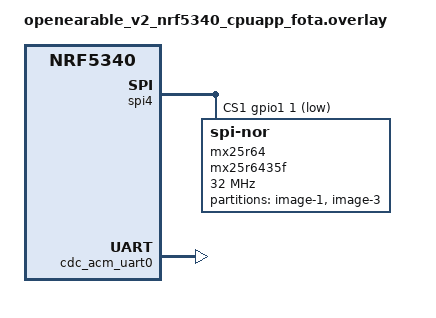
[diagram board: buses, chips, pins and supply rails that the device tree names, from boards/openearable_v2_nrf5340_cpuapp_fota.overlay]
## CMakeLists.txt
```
#
# Copyright (c) 2022 Nordic Semiconductor ASA
#
# SPDX-License-Identifier: LicenseRef-Nordic-5-Clause
#

cmake_minimum_required(VERSION 3.20.0)

# Flag which defines whether application is compiled as gateway/dongle or headset
add_compile_definitions(HEADSET=1)
add_compile_definitions(GATEWAY=2)

find_package(Zephyr REQUIRED HINTS $ENV{ZEPHYR_BASE})

project(openearable_v2)

include(cmake/sd_spi_fast_write.cmake)

# NCS 3.4.1 gates this bootutil hook on a bootloader-only Kconfig symbol.
# SMP must use its nRF53 hook too: the radio primary slot is not readable here.
if(CONFIG_MCUMGR_GRP_IMG_NRF5340_BOOTUTIL_HOOK)
    target_compile_definitions(mcuboot_util PRIVATE CONFIG_NRF53_MULTI_IMAGE_UPDATE=1)
endif()

#set(OVERLAY_CONFIG 
#    ${CMAKE_CURRENT_SOURCE_DIR}/unicast_server/overlay-unicast_server.conf
#)

string(TIMESTAMP NRF_AUDIO_CORE_APP_COMP_DATE "%a %b %d %H:%M:%S %Y")

# Generate fw_info_app.c
configure_file("${CMAKE_CURRENT_SOURCE_DIR}/src/utils/fw_info_app.c.in"
               "${CMAKE_BINARY_DIR}/fw_info_app.c"
               @ONLY)

# Target sources below are specific to the nRF5340 Audio DK HW
target_sources(app PRIVATE
#    src/openearable_common.c
    ${CMAKE_BINARY_DIR}/fw_info_app.c
    )

if (CONFIG_BT_BAP_BROADCAST_SINK)
	add_subdirectory(broadcast_sink)
endif()

if (CONFIG_BT_BAP_UNICAST_SERVER)
	add_subdirectory(unicast_server)
endif()


# Include application events and configuration headers
zephyr_library_include_directories(
    include
    src/audio
    src/Battery
    src/buttons
    src/Wire
    src/bluetooth
    src/drivers
    src/modules
    src/utils
    src/utils/macros
    src/ParseInfo
    src/SD_Card/SDLogger
    src/SD_Card/Benchmark
    src/SD_Card/SD_Card_Manager
    src/SD_Card/MassStorage
    src/time_sync
)

zephyr_library_include_directories(app PRIVATE
    ${CMAKE_CURRENT_SOURCE_DIR}/boards/teco/openearable_v2)

# Application sources
add_subdirectory(src/audio)
add_subdirectory(src/Wire)
add_subdirectory(src/Battery)
add_subdirectory(src/bluetooth)
add_subdirectory(src/buttons)
add_subdirectory(src/drivers)
add_subdirectory(src/modules)
add_subdirectory(src/utils)
add_subdirectory(src/ParseInfo)
add_subdirectory(src/SensorManager)
add_subdirectory(src/SD_Card/SDLogger)
add_subdirectory(src/SD_Card/Benchmark)
add_subdirectory(src/SD_Card/SD_Card_Manager)
add_subdirectory(src/SD_Card/MassStorage)
add_subdirectory(src/time_sync)
add_subdirectory(protocol/generated/c)

target_link_libraries(open_earable_protocols PRIVATE zephyr_interface)

## Cirrus Logic
if (CONFIG_HW_CODEC_CIRRUS_LOGIC)
    if (ZEPHYR_CIRRUS_LOGIC_MODULE_DIR)
        add_subdirectory(${ZEPHYR_CIRRUS_LOGIC_MODULE_DIR} cirrus_logic_bin_dir)
    else()
        message(FATAL_ERROR "Cirrus Logic/sdk-mcu-drivers repository not found\n")
    endif()
endif()

include(version.cmake)
include_directories(${CMAKE_CURRENT_BINARY_DIR}/include)

target_link_libraries(app PRIVATE open_earable_protocols)

# USB device initialization shared by Zephyr's next-generation USB samples.
if(CONFIG_USB_DEVICE_STACK_NEXT)
    include(${ZEPHYR_BASE}/samples/subsys/usb/common/common.cmake)
endif()
```

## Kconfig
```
#
# Copyright (c) 2018 Nordic Semiconductor ASA
#
# SPDX-License-Identifier: LicenseRef-Nordic-5-Clause
#

menuconfig APP_NRF_AUDIO
	bool "nRF Audio [EXPERIMENTAL]"
	 select EXPERIMENTAL

config CUSTOM_BROADCASTER
	bool "Allow custom broadcasters"
	default n
	help
	  Incomplete feature for now, but will introduce support for multiple BIGs and subgroups.

config AUDIO_DEV
	int "Select which device type to compile for. 1=HEADSET or 2=GATEWAY"
	range 1 2
	default 1
	help
	  Setting this variable to 1 selects that the project is compiled
	  as a HEADSET device.
	  Setting to 2 will compile as a GATEWAY.

choice NRF_AUDIO_TRANSPORT_MODE
	prompt "Choose BIS or CIS for ISO transport"
	default TRANSPORT_CIS if WALKIE_TALKIE_DEMO
	default TRANSPORT_CIS

config TRANSPORT_BIS
	bool "Use BIS (Broadcast Isochronous Stream)"

config TRANSPORT_CIS
	bool "Use CIS (Connected Isochronous Stream)"

endchoice

#----------------------------------------------------------------------------#
# if (TRANSPORT_BIS && AUDIO_DEV = 1)
# rsource "broadcast_sink/Kconfig.defaults"
# endif # TRANSPORT_BIS && AUDIO_DEV = 1

# if (TRANSPORT_BIS && AUDIO_DEV = 2)
# rsource "broadcast_source/Kconfig.defaults"
# endif # TRANSPORT_BIS && AUDIO_DEV = 2

# if (TRANSPORT_CIS && AUDIO_DEV = 1)
rsource "unicast_server/Kconfig.defaults"
# endif # TRANSPORT_CIS && AUDIO_DEV = 1

# if (TRANSPORT_CIS && AUDIO_DEV = 2)
# rsource "unicast_client/Kconfig.defaults"
# endif # TRANSPORT_CIS && AUDIO_DEV = 2

rsource "Kconfig.defaults"
rsource "src/audio/Kconfig"
rsource "src/bluetooth/Kconfig"
rsource "src/drivers/Kconfig"
rsource "src/modules/Kconfig"
rsource "src/utils/Kconfig"
rsource "src/SensorManager/Kconfig"
rsource "src/Battery/Kconfig"

#----------------------------------------------------------------------------#
menu "Logging"

module = MAIN
module-str = main
source "subsys/logging/Kconfig.template.log_config"

config PRINT_STACK_USAGE_MS
	depends on THREAD_ANALYZER && INIT_STACKS
	int "Print stack usage every x milliseconds"
	default 5000

endmenu # Log levels

#----------------------------------------------------------------------------#
rsource "$(ZEPHYR_BASE)/samples/subsys/usb/common/Kconfig.sample_usbd"

source "Kconfig.zephyr"
```

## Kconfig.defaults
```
#
# Copyright (c) 2022 Nordic Semiconductor ASA
#
# SPDX-License-Identifier: LicenseRef-Nordic-5-Clause
#

config REBOOT
	default y

config MAIN_THREAD_PRIORITY
	default 10

config MAIN_STACK_SIZE
	default 2500 if SD_CARD_PLAYBACK
	default 2000

config SYSTEM_WORKQUEUE_STACK_SIZE
	default 2000

# As long as thread names are used, config must be set to "y"
config THREAD_NAME
	default y

# Workaround to not use fatal_error.c in NCS. Note that the system may still
# reset on error depending on the build configuraion
config RESET_ON_FATAL_ERROR
	default n

# Default Config for Debug and Release build
config BT
	default y

config ZBUS
	default y

config ZBUS_RUNTIME_OBSERVERS
	default y

config ZBUS_MSG_SUBSCRIBER
	default y

config SENSOR
	default y

config REGULATOR
	default y

config CONTIN_ARRAY
	default y

config NRFX_I2S
	default y

config PCM_MIX
	default y

config PSCM
	default y

# Enable NRFX_CLOCK for ACLK control
config NRFX_CLOCK
	default y

config I2C
	default y

# Audio codec LC3 related defines
# FPU_SHARING enables preservation of the hardware floating point registers
# across context switches to allow multiple threads to perform concurrent
# floating point operations.
config FPU
	default y

config FPU_SHARING
	default y

# Enable SDHC interface
config DISK_DRIVERS
	default y

config DISK_DRIVER_SDMMC
	default y

# Enable SPI interface
config SPI
	default y

# Enable ADC for board version readback
config ADC
	default y

# Allocate buffer on RAM for transferring chunck of data
# from Flash to SPI
config SPI_NRFX_RAM_BUFFER_SIZE
	default 8

# Config the file system
config FILE_SYSTEM
	default y

config FAT_FILESYSTEM_ELM
	default y

config FS_FATFS_LFN
	default y
choice FS_FATFS_LFN_MODE
	# Using stack for LFN work queue
	default FS_FATFS_LFN_MODE_STACK
endchoice

# exFAT enabled to support longer file names and higher transfer speed
config FS_FATFS_EXFAT
	default y

# The SD logger owns a 32768-byte ring; Zephyr now defaults to a 32767-byte limit.
config RING_BUFFER_LARGE
	default y
```

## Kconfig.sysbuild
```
config NRF_DEFAULT_IPC_RADIO
	default y

source "${ZEPHYR_BASE}/share/sysbuild/Kconfig"
```

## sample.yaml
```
sample:
  name: OpenEarable V2 application
  description: OpenEarable V2 LE Audio application
common:
  integration_platforms:
    - openearable_v2/nrf5340/cpuapp
  platform_allow: openearable_v2/nrf5340/cpuapp
  sysbuild: true
  build_only: true
  tags: ci_build sysbuild
tests:
  applications.openearable_v2.unicast_debug:
    extra_args:
      - EXTRA_CONF_FILE=unicast_server/overlay-unicast_server.conf
  applications.openearable_v2.unicast_release:
    extra_args:
      - FILE_SUFFIX=release
      - EXTRA_CONF_FILE=unicast_server/overlay-unicast_server.conf
  applications.openearable_v2.unicast_fota:
    extra_args:
      - FILE_SUFFIX=fota
      - EXTRA_CONF_FILE=unicast_server/overlay-unicast_server.conf
```

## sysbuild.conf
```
SB_CONFIG_MERGED_HEX_FILES=y
```

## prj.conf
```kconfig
#
# Copyright (c) 2022 Nordic Semiconductor ASA
#
# SPDX-License-Identifier: LicenseRef-Nordic-5-Clause
#

# CONFIG_STATIC_INIT_GNU=y

# nRF Audio
CONFIG_APP_NRF_AUDIO=y
CONFIG_USE_DT_CODE_PARTITION=y
CONFIG_SAMPLE_RATE_CONVERTER=y
CONFIG_SAMPLE_RATE_CONVERTER_FILTER_SIMPLE=y

# General nRF Audio runtime requirements
CONFIG_BT=y
CONFIG_NET_BUF_POOL_USAGE=y
CONFIG_BT_RX_STACK_SIZE=2500
CONFIG_POLL=y

# General
CONFIG_DEBUG=y
CONFIG_ASSERT=y
CONFIG_STACK_USAGE=y
CONFIG_THREAD_RUNTIME_STATS=y
CONFIG_STACK_SENTINEL=y
CONFIG_INIT_STACKS=y

# Uart driver
CONFIG_SERIAL=y

# Logging
CONFIG_LOG=y
CONFIG_LOG_TAG_MAX_LEN=2
CONFIG_LOG_TAG_DEFAULT="--"
CONFIG_LOG_BACKEND_UART=y
CONFIG_LOG_BUFFER_SIZE=1024
CONFIG_LOG_RUNTIME_DEFAULT_LEVEL=4
CONFIG_BT_SECURITY_ERR_TO_STR=y

# Use this for debugging thread usage
#CONFIG_LOG_THREAD_ID_PREFIX=y

# Console related defines
CONFIG_CONSOLE=y
CONFIG_RTT_CONSOLE=y
CONFIG_UART_CONSOLE=y

# Shell related defines
CONFIG_SHELL=y
CONFIG_KERNEL_SHELL=y
CONFIG_USE_SEGGER_RTT=y
## Disable logs on RTT
CONFIG_SHELL_RTT_INIT_LOG_LEVEL_NONE=y
CONFIG_SHELL_BACKEND_RTT=y
CONFIG_SHELL_BACKEND_SERIAL=n
CONFIG_SHELL_VT100_COMMANDS=y
CONFIG_SHELL_VT100_COLORS=y
CONFIG_SHELL_STACK_SIZE=4096
CONFIG_SHELL_CMD_BUFF_SIZE=128
## Reduce shell memory usage
CONFIG_SHELL_WILDCARD=n
CONFIG_SHELL_HELP_ON_WRONG_ARGUMENT_COUNT=n
CONFIG_SHELL_STATS=n
CONFIG_SHELL_CMDS=n
CONFIG_SHELL_HISTORY=y

# Turn off default shell commands
CONFIG_I2C_SHELL=n
CONFIG_HWINFO_SHELL=n
CONFIG_CLOCK_CONTROL_NRF_SHELL=n
CONFIG_FLASH_SHELL=n
CONFIG_DEVICE_SHELL=n

# Suppress LOG_ERR messages from sd_check_card_type. Because SPI_SDHC has no card presence method,
# assume card is in slot. Thus error message is always shown if card is not inserted
CONFIG_SD_LOG_LEVEL_OFF=y

# Suppress LOG_INF messages from hci_core
CONFIG_BT_HCI_CORE_LOG_LEVEL_WRN=y

CONFIG_NRF_AUDIO_ADAU1860_DRIVER=y
CONFIG_NRF5340_AUDIO_POWER_MEASUREMENT=n
CONFIG_NRF_AUDIO_SD_CARD_MODULE=y

#Custom
CONFIG_NRFX_PWM=y

CONFIG_I2C=y
CONFIG_I2C_NRFX=y

CONFIG_POWEROFF=y

# Auto-off power saving modes: 0=off, 1=minimal, 2=balanced, 3=aggressive.
# Higher modes are more aggressive: shorter timeout, fewer participants can veto.
CONFIG_POWER_SAVING_DEFAULT_MODE=0

# Auto-off participant levels are the most aggressive mode where a component
# may veto. Level 2 applies in modes 1 and 2, but not mode 3.
CONFIG_POWER_SAVING_LEVEL_LEAUDIO=3
CONFIG_POWER_SAVING_LEVEL_SENSOR_MANAGER=2

# Auto-off timeouts in minutes for each power saving mode
CONFIG_AUTO_OFF_TIMEOUT_AGGRESSIVE=5
CONFIG_AUTO_OFF_TIMEOUT_BALANCED=15
CONFIG_AUTO_OFF_TIMEOUT_MINIMAL=30

CONFIG_PM_DEVICE=y
CONFIG_PM_DEVICE_RUNTIME=y
# PowerManager explicitly enables runtime PM for the managed load switches.
CONFIG_PM_DEVICE_RUNTIME_DEFAULT_ENABLE=n

CONFIG_BT_DEVICE_NAME="OpenEarable"

#CONFIG_USB_CDC_ACM_LOG_LEVEL_DBG=y

CONFIG_BT_PERIPHERAL=y
CONFIG_BT_OBSERVER=y

CONFIG_SFLOAT=y

CONFIG_FPU=y

CONFIG_CMSIS_DSP=y
CONFIG_CMSIS_DSP_TRANSFORM=y
CONFIG_CMSIS_DSP_COMPLEXMATH=y

CONFIG_PICOLIBC=y
CONFIG_PICOLIBC_IO_FLOAT=y
# Seal-check waveform + LC3 sessions + 8 KiB reserve, as before the SDK upgrade.
CONFIG_COMMON_LIBC_MALLOC_ARENA_SIZE=-1
CONFIG_AUDIO_MIN_RUNTIME_HEAP_SIZE=115200

CONFIG_CPP=y
CONFIG_GLIBCXX_LIBCPP=y
CONFIG_STD_CPP17=y

#CONFIG_USB=y
CONFIG_USB_CDC_ACM=y

CONFIG_USB_DEVICE_STACK=y
CONFIG_USB_DEVICE_PRODUCT="OpenEarable v2"
CONFIG_USB_DEVICE_PID=0x0004
CONFIG_USB_DEVICE_INITIALIZE_AT_BOOT=n
CONFIG_OPENEARABLE_USB_AUDIO=y

CONFIG_UART_LINE_CTRL=y

CONFIG_BT_USER_DATA_LEN_UPDATE=y
CONFIG_BT_USER_PHY_UPDATE=y

# Negotiate the link settings previously requested by connected_cb.
CONFIG_BT_AUTO_DATA_LEN_UPDATE=y
CONFIG_BT_AUTO_PHY_PERIPHERAL_2M=y

CONFIG_BT_BUF_ACL_RX_SIZE=502
CONFIG_BT_BUF_ACL_RX_COUNT_EXTRA=8
CONFIG_BT_BUF_ACL_TX_SIZE=502
CONFIG_BT_L2CAP_TX_MTU=498

CONFIG_BT_ISO_TX_BUF_COUNT=3
# Full advertised mono LC3 range: 124 kbit/s at 10 ms = 155 bytes.
CONFIG_BT_ISO_TX_MTU=155
CONFIG_BT_ISO_RX_MTU=155
CONFIG_BT_ISO_RX_BUF_COUNT=4
CONFIG_BT_BUF_ACL_TX_COUNT=12
CONFIG_BT_ATT_TX_COUNT=12

CONFIG_SPEED_OPTIMIZATIONS=y

#CONFIG_BT_BUF_ACL_TX_COUNT=20
#CONFIG_BT_L2CAP_TX_BUF_COUNT=20

#CONFIG_BT_ISO_RX_MTU=498
#CONFIG_BT_ISO_TX_MTU=498

CONFIG_BT_ATT_PREPARE_COUNT=8
CONFIG_BT_L2CAP_DYNAMIC_CHANNEL=y

#CONFIG_BT_AUDIO_PRESENTATION_DELAY_US=40000
#CONFIG_BT_AUDIO_MAX_TRANSPORT_LATENCY_MS=20

CONFIG_BT_AUDIO_RETRANSMITS=2

CONFIG_BLE_ACL_CONN_INTERVAL=8

CONFIG_BT_PERIPHERAL=y
CONFIG_BT_OBSERVER=y

CONFIG_SFLOAT=y

#CONFIG_RESET_ON_FATAL_ERROR=y

CONFIG_STREAM_BIDIRECTIONAL=y

# CONFIG_NRFX_PDM=y

CONFIG_AUDIO_MIC_I2S=y

# CONFIG_LOG_DEFAULT_LEVEL=4

CONFIG_SPI_NRFX_RAM_BUFFER_SIZE=4096

CONFIG_SPI=y
CONFIG_SPI_NRFX=y
CONFIG_DISK_ACCESS=y
CONFIG_SDHC=y

CONFIG_LOG=y
CONFIG_FILE_SYSTEM=y
CONFIG_FAT_FILESYSTEM_ELM=y
CONFIG_FS_FATFS_HAS_RTC=y

# Enable SDHC interface
CONFIG_DISK_DRIVERS=y
CONFIG_DISK_DRIVER_SDMMC=y

CONFIG_FS_FATFS_MOUNT_MKFS=y # Enable automatic formatting
CONFIG_FS_FATFS_EXFAT=y      # Enable exFAT support

CONFIG_FDSP=y

# CMSIS-DSP Configuration
CONFIG_CMSIS_DSP=y
CONFIG_CMSIS_DSP_TRANSFORM=y
CONFIG_CMSIS_DSP_COMPLEXMATH=y

CONFIG_SYSTEM_WORKQUEUE_STACK_SIZE=4096
CONFIG_AUDIO_RESPONSE_MAX_SAMPLES=32000

#CONFIG_USB_MASS_STORAGE=y
#CONFIG_MASS_STORAGE_STACK_SIZE=1024
#CONFIG_MASS_STORAGE_DISK_NAME="SD"
#CONFIG_APP_MSC_STORAGE_SDCARD=y
```

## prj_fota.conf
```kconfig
#
# Copyright (c) 2022 Nordic Semiconductor ASA
#
# SPDX-License-Identifier: LicenseRef-Nordic-5-Clause
#

# CONFIG_STATIC_INIT_GNU=y

# Auto-off is disabled until the user selects a mode.
CONFIG_POWER_SAVING_DEFAULT_MODE=0

# nRF Audio
CONFIG_APP_NRF_AUDIO=y
CONFIG_SAMPLE_RATE_CONVERTER=y
CONFIG_SAMPLE_RATE_CONVERTER_FILTER_SIMPLE=y

# General nRF Audio runtime requirements
CONFIG_BT=y
CONFIG_NET_BUF_POOL_USAGE=y
CONFIG_BT_RX_STACK_SIZE=2500
CONFIG_POLL=y

# General
CONFIG_DEBUG=y
CONFIG_ASSERT=y
CONFIG_STACK_USAGE=y
CONFIG_THREAD_RUNTIME_STATS=y
CONFIG_STACK_SENTINEL=y
CONFIG_INIT_STACKS=y

# Uart driver
CONFIG_SERIAL=y

# Logging
CONFIG_LOG=y
CONFIG_LOG_TAG_MAX_LEN=2
CONFIG_LOG_TAG_DEFAULT="--"
CONFIG_LOG_BACKEND_UART=y
CONFIG_LOG_BUFFER_SIZE=1024
CONFIG_LOG_RUNTIME_DEFAULT_LEVEL=4
CONFIG_BT_SECURITY_ERR_TO_STR=y

# Use this for debugging thread usage
#CONFIG_LOG_THREAD_ID_PREFIX=y

# Console related defines
CONFIG_CONSOLE=y
CONFIG_RTT_CONSOLE=y
CONFIG_UART_CONSOLE=y
CONFIG_STDOUT_CONSOLE=y

# Shell related defines
CONFIG_SHELL=y
CONFIG_KERNEL_SHELL=y
CONFIG_USE_SEGGER_RTT=y
## Disable logs on RTT
CONFIG_SHELL_RTT_INIT_LOG_LEVEL_NONE=y
CONFIG_SHELL_BACKEND_RTT=y
CONFIG_SHELL_BACKEND_SERIAL=n
CONFIG_SHELL_VT100_COMMANDS=y
CONFIG_SHELL_VT100_COLORS=y
CONFIG_SHELL_STACK_SIZE=4096
CONFIG_SHELL_CMD_BUFF_SIZE=128
## Reduce shell memory usage
CONFIG_SHELL_WILDCARD=n
CONFIG_SHELL_HELP_ON_WRONG_ARGUMENT_COUNT=n
CONFIG_SHELL_STATS=n
CONFIG_SHELL_CMDS=n
CONFIG_SHELL_HISTORY=y

# Turn off default shell commands
CONFIG_I2C_SHELL=n
CONFIG_HWINFO_SHELL=n
CONFIG_CLOCK_CONTROL_NRF_SHELL=n
CONFIG_FLASH_SHELL=n
CONFIG_DEVICE_SHELL=n

# Suppress LOG_ERR messages from sd_check_card_type. Because SPI_SDHC has no card presence method,
# assume card is in slot. Thus error message is always shown if card is not inserted
CONFIG_SD_LOG_LEVEL_OFF=y

# Suppress LOG_INF messages from hci_core
CONFIG_BT_HCI_CORE_LOG_LEVEL_WRN=y

# DFU
CONFIG_AUDIO_BT_MGMT_DFU=y
CONFIG_MCUMGR_TRANSPORT_BT_PERM_RW=y
CONFIG_BT_L2CAP_TX_MTU=498
CONFIG_BT_BUF_ACL_TX_SIZE=251

# External Flash
CONFIG_FLASH=y
CONFIG_FLASH_MAP=y
CONFIG_SPI_NOR=y
CONFIG_SPI_NOR_SFDP_DEVICETREE=y

CONFIG_NRF_AUDIO_ADAU1860_DRIVER=y
CONFIG_NRF5340_AUDIO_POWER_MEASUREMENT=n
CONFIG_NRF_AUDIO_SD_CARD_MODULE=y

#Custom
CONFIG_NRFX_PWM=y

CONFIG_I2C=y
CONFIG_I2C_NRFX=y

CONFIG_POWEROFF=y

#CONFIG_PM=y
CONFIG_PM_DEVICE=y
CONFIG_PM_DEVICE_RUNTIME=y
# PowerManager explicitly enables runtime PM for the managed load switches.
CONFIG_PM_DEVICE_RUNTIME_DEFAULT_ENABLE=n

CONFIG_BT_DEVICE_NAME="OpenEarable"

#CONFIG_USB_CDC_ACM_LOG_LEVEL_DBG=y

CONFIG_BT_PERIPHERAL=y
CONFIG_BT_OBSERVER=y

CONFIG_SFLOAT=y

CONFIG_FPU=y

CONFIG_PICOLIBC=y
CONFIG_PICOLIBC_IO_FLOAT=y
# Seal-check waveform + LC3 sessions + 8 KiB reserve, as before the SDK upgrade.
CONFIG_COMMON_LIBC_MALLOC_ARENA_SIZE=-1
CONFIG_AUDIO_MIN_RUNTIME_HEAP_SIZE=115200

CONFIG_CPP=y
CONFIG_GLIBCXX_LIBCPP=y
CONFIG_STD_CPP17=y

#CONFIG_USB=y
CONFIG_USB_CDC_ACM=y

CONFIG_USB_DEVICE_STACK=y
CONFIG_USB_DEVICE_PRODUCT="OpenEarable v2"
CONFIG_USB_DEVICE_PID=0x0004
CONFIG_USB_DEVICE_INITIALIZE_AT_BOOT=n
CONFIG_OPENEARABLE_USB_AUDIO=y

CONFIG_UART_LINE_CTRL=y

CONFIG_BT_USER_DATA_LEN_UPDATE=y
CONFIG_BT_USER_PHY_UPDATE=y

# Negotiate the link settings previously requested by connected_cb.
CONFIG_BT_AUTO_DATA_LEN_UPDATE=y
CONFIG_BT_AUTO_PHY_PERIPHERAL_2M=y

CONFIG_BT_BUF_ACL_RX_SIZE=502
CONFIG_BT_BUF_ACL_RX_COUNT_EXTRA=8
CONFIG_BT_BUF_ACL_TX_SIZE=502
CONFIG_BT_L2CAP_TX_MTU=498

CONFIG_BT_ISO_TX_BUF_COUNT=3
# Full advertised mono LC3 range: 124 kbit/s at 10 ms = 155 bytes.
CONFIG_BT_ISO_TX_MTU=155
CONFIG_BT_ISO_RX_MTU=155
CONFIG_BT_ISO_RX_BUF_COUNT=4
CONFIG_BT_BUF_ACL_TX_COUNT=3
CONFIG_BT_ATT_TX_COUNT=12

CONFIG_SPEED_OPTIMIZATIONS=y

#CONFIG_BT_ISO_RX_MTU=498
#CONFIG_BT_ISO_TX_MTU=498

#CONFIG_BT_ATT_PREPARE_COUNT=8
CONFIG_BT_L2CAP_DYNAMIC_CHANNEL=y

#CONFIG_BT_AUDIO_PRESENTATION_DELAY_US=40000
#CONFIG_BT_AUDIO_MAX_TRANSPORT_LATENCY_MS=20

CONFIG_BT_AUDIO_RETRANSMITS=2

CONFIG_BLE_ACL_CONN_INTERVAL=8

CONFIG_BT_PERIPHERAL=y
CONFIG_BT_OBSERVER=y

CONFIG_SFLOAT=y

#CONFIG_RESET_ON_FATAL_ERROR=y

CONFIG_STREAM_BIDIRECTIONAL=y

# CONFIG_NRFX_PDM=y

CONFIG_AUDIO_MIC_I2S=y

# CONFIG_LOG_DEFAULT_LEVEL=4

CONFIG_SPI_NRFX_RAM_BUFFER_SIZE=4096

CONFIG_SPI=y
CONFIG_SPI_NRFX=y
CONFIG_DISK_ACCESS=y
CONFIG_SDHC=y

CONFIG_LOG=y
CONFIG_FILE_SYSTEM=y
CONFIG_FAT_FILESYSTEM_ELM=y
CONFIG_FS_FATFS_HAS_RTC=y

# Enable SDHC interface
CONFIG_DISK_DRIVERS=y
CONFIG_DISK_DRIVER_SDMMC=y

CONFIG_FS_FATFS_MOUNT_MKFS=n # Disable automatic formatting
CONFIG_FS_FATFS_EXFAT=y      # Enable exFAT support

CONFIG_FDSP=y

CONFIG_SYSTEM_WORKQUEUE_STACK_SIZE=4096

#CONFIG_USB_MASS_STORAGE=y
#CONFIG_MASS_STORAGE_STACK_SIZE=1024

##################################################

# Step 1.1 - Enable SPI driver for the application
#CONFIG_GPIO=y
#CONFIG_SPI=y
#CONFIG_SPI_NOR=y
#CONFIG_SPI_NOR_SFDP_DEVICETREE=y
CONFIG_SPI_NOR_FLASH_LAYOUT_PAGE_SIZE=4096
# QSPI drivers are enabled by defualt for some chips.
# Disable it explicitly to be sure QSPI is disabled.
CONFIG_NORDIC_QSPI_NOR=n

# STEP 5.3 - Enable USB subsystem
CONFIG_USB_DEVICE_STACK=y
CONFIG_UART_LINE_CTRL=y
CONFIG_USB_DEVICE_INITIALIZE_AT_BOOT=n

# STEP 5.2 - Enable mcumgr DFU in application
# Enable MCUMGR 
CONFIG_MCUMGR=y

# Enable MCUMGR management for both OS and Images
CONFIG_MCUMGR_GRP_OS=y
CONFIG_MCUMGR_GRP_IMG=y

# Configure MCUMGR transport to UART
CONFIG_UART_MCUMGR=y
CONFIG_MCUMGR_TRANSPORT_UART=y

# Dependencies
# Configure dependencies for CONFIG_MCUMGR  
CONFIG_NET_BUF=y
CONFIG_ZCBOR=y
CONFIG_CRC=y

# Configure dependencies for CONFIG_MCUMGR_GRP_IMG  
CONFIG_FLASH=y
CONFIG_IMG_MANAGER=y

# Configure dependencies for CONFIG_IMG_MANAGER  
CONFIG_STREAM_FLASH=y
CONFIG_FLASH_MAP=y

# Configure dependencies for CONFIG_MCUMGR_TRANSPORT_UART 
CONFIG_BASE64=y

# MCUboot hooks
CONFIG_MCUMGR_MGMT_NOTIFICATION_HOOKS=y

CONFIG_MCUMGR_SMP_COMMAND_STATUS_HOOKS=y
#CONFIG_MCUMGR_GRP_FS_FILE_ACCESS_HOOK=y

CONFIG_MCUMGR_GRP_IMG_UPLOAD_CHECK_HOOK=y
CONFIG_MCUMGR_GRP_IMG_STATUS_HOOKS=y
CONFIG_MCUMGR_GRP_OS_RESET_HOOK=y

#CONFIG_MCUMGR_GRP_SETTINGS_ACCESS_HOOK=y

CONFIG_SETUP_FUEL_GAUGE=y

CONFIG_CMSIS_DSP=y
CONFIG_CMSIS_DSP_TRANSFORM=y
CONFIG_CMSIS_DSP_COMPLEXMATH=y

CONFIG_AUDIO_RESPONSE_MAX_SAMPLES=32000
```

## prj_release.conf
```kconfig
#
# Copyright (c) 2022 Nordic Semiconductor ASA
#
# SPDX-License-Identifier: LicenseRef-Nordic-5-Clause
#

# Auto-off is disabled until the user selects a mode.
CONFIG_POWER_SAVING_DEFAULT_MODE=0

# nRF Audio
CONFIG_APP_NRF_AUDIO=y

CONFIG_SAMPLE_RATE_CONVERTER=y
CONFIG_SAMPLE_RATE_CONVERTER_FILTER_SIMPLE=y

# General
CONFIG_DEBUG=n
CONFIG_ASSERT=n
CONFIG_STACK_USAGE=n
CONFIG_THREAD_MONITOR=n
CONFIG_SERIAL=n
CONFIG_CONSOLE=n
CONFIG_PRINTK=n
CONFIG_BT_SETTINGS_USE_PRINTK=n
CONFIG_NCS_BOOT_BANNER=n
CONFIG_UART_CONSOLE=n
CONFIG_BOOT_BANNER=n
CONFIG_NET_BUF_POOL_USAGE=y
CONFIG_BT_RX_STACK_SIZE=2500
CONFIG_POLL=y

# BT related configs
CONFIG_BT_ISO_TX_BUF_COUNT=3
CONFIG_BT_BUF_ACL_TX_COUNT=3
CONFIG_BT_ATT_TX_COUNT=12

CONFIG_SPEED_OPTIMIZATIONS=y

# Enable link-time-optimizations to improve performance and reduce size
CONFIG_LTO=y
CONFIG_ISR_TABLES_LOCAL_DECLARATION=y
```

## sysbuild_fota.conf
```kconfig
#
# Copyright (c) 2024 Nordic Semiconductor ASA
#
# SPDX-License-Identifier: LicenseRef-Nordic-5-Clause
#

# Enable bootloaders for both cores
SB_CONFIG_BOOTLOADER_MCUBOOT=y
SB_CONFIG_SECURE_BOOT_NETCORE=y
SB_CONFIG_NETCORE_APP_UPDATE=y
SB_CONFIG_MCUBOOT_NRF53_MULTI_IMAGE_UPDATE=y
SB_CONFIG_MCUBOOT_MODE_OVERWRITE_ONLY=y

SB_CONFIG_MERGED_HEX_FILES=y
```

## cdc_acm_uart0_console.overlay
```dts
// To get started, press Ctrl+Space (or Option+Esc) to bring up the completion menu and view the available nodes.

// You can also use the buttons in the sidebar to perform actions on nodes.
// Actions currently available include:

// * Enabling / disabling the node
// * Adding the bus to a bus
// * Removing the node
// * Connecting ADC channels

// For more help, browse the DeviceTree documentation at https://docs.zephyrproject.org/latest/guides/dts/index.html
// You can also visit the nRF DeviceTree extension documentation at https://docs.nordicsemi.com/bundle/nrf-connect-vscode/page/guides/ncs_configure_app.html#devicetree-support-in-the-extension

/ {
	chosen {
		zephyr,console = &cdc_acm_uart0;
		zephyr,shell-uart = &cdc_acm_uart0;
    };
};
```

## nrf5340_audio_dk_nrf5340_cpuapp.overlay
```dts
// To get started, press Ctrl+Space to bring up the completion menu and view the available nodes.

// You can also use the buttons in the sidebar to perform actions on nodes.
// Actions currently available include:

// * Enabling / disabling the node
// * Adding the bus to a bus
// * Removing the node
// * Connecting ADC channels

// For more help, browse the DeviceTree documentation at https://docs.zephyrproject.org/latest/guides/dts/index.html
// You can also visit the nRF DeviceTree extension documentation at https://nrfconnect.github.io/vscode-nrf-connect/devicetree/nrfdevicetree.html

&rng_hci {
    status = "okay";
};

&arduino_header {
    gpio-map = <0 0 &gpio0 4 0>,
               <1 0 &gpio0 5 0>,
               <2 0 &gpio0 6 0>,
               <3 0 &gpio0 7 0>,
               <4 0 &gpio0 25 0>,
               <5 0 &gpio0 26 0>,
               <6 0 &gpio1 9 0>,
               <7 0 &gpio1 8 0>,
               <8 0 &gpio0 31 0>,
               <9 0 &gpio1 0 0>,
               <10 0 &gpio1 1 0>,
               <11 0 &gpio1 14 0>,
               <12 0 &gpio1 7 0>,
               <13 0 &gpio1 11 0>,
               <14 0 &gpio1 10 0>,
               <15 0 &gpio1 13 0>,
               <16 0 &gpio1 12 0>,
               <17 0 &gpio0 9 0>,
               <18 0 &gpio0 10 0>,
               <19 0 &gpio0 8 0>,
               <20 0 &gpio1 2 0>,
               <21 0 &gpio1 3 0>;
};
```

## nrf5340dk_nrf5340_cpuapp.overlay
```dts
// To get started, press Ctrl+Space (or Option+Esc) to bring up the completion menu and view the available nodes.

// You can also use the buttons in the sidebar to perform actions on nodes.
// Actions currently available include:

// * Enabling / disabling the node
// * Adding the bus to a bus
// * Removing the node
// * Connecting ADC channels

// For more help, browse the DeviceTree documentation at https://docs.zephyrproject.org/latest/guides/dts/index.html
// You can also visit the nRF DeviceTree extension documentation at https://nrfconnect.github.io/vscode-nrf-connect/devicetree/nrfdevicetree.html

&rng_hci {
    status = "okay";
};

&qspi {
	status = "disabled";
};

&i2s0 {
	status = "okay";
	pinctrl-0 = < &i2s0_default >;
	pinctrl-1 = < &i2s0_sleep >;
	pinctrl-names = "default", "sleep";
};

/ {
	leds: leds {
	};
};

&led0 {
	label = "0 LED_MONO_GREEN";
};


&led1 {
	label = "1 LED_MONO_GREEN";
};

&led2 {
	label = "2 LED_MONO_GREEN";
};

&led3 {
	label = "3 LED_MONO_GREEN";
};

&pinctrl {
	i2s0_default: i2s0_default {
		phandle = < 0xd >;
		group1 {
			psels = < 0x13000c >;
			nordic,drive-mode = < 0x3 >;
		};
		group2 {
			psels = < 0xd000e >, < 0xf0010 >, < 0x12000d >, < 0x11000f >;
		};
	};
	i2s0_sleep: i2s0_sleep {
		phandle = < 0xe >;
		group1 {
			psels = < 0x13000c >, < 0xd000e >, < 0xf0010 >, < 0x12000d >, < 0x11000f >;
			low-power-enable;
		};
	};
};

&i2c1 {
    status = "okay";
};

&i2c1_default {
    group1 {
        psels = <NRF_PSEL(TWIM_SDA, 1, 2)>, <NRF_PSEL(TWIM_SCL, 1, 3)>;
    };
};
```

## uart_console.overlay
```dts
// To get started, press Ctrl+Space (or Option+Esc) to bring up the completion menu and view the available nodes.

// You can also use the buttons in the sidebar to perform actions on nodes.
// Actions currently available include:

// * Enabling / disabling the node
// * Adding the bus to a bus
// * Removing the node
// * Connecting ADC channels

// For more help, browse the DeviceTree documentation at https://docs.zephyrproject.org/latest/guides/dts/index.html
// You can also visit the nRF DeviceTree extension documentation at https://docs.nordicsemi.com/bundle/nrf-connect-vscode/page/guides/ncs_configure_app.html#devicetree-support-in-the-extension

/ {
	chosen {
		zephyr,console = &uart0;
		zephyr,shell-uart = &uart0;
    };
};
```

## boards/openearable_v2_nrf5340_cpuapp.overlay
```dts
/* Preserve the non-FOTA settings layout used before the SDK upgrade. */
/delete-node/ &boot_partition;
/delete-node/ &slot0_partition;
/delete-node/ &slot1_partition;
/delete-node/ &storage_partition;

&flash0 {
	partitions {
		slot0_partition: partition@0 {
			compatible = "zephyr,mapped-partition";
			label = "image-0";
			reg = <0x00000000 0x000fc000>;
		};

		storage_partition: partition@fc000 {
			compatible = "zephyr,mapped-partition";
			label = "storage";
			reg = <0x000fc000 0x00002000>;
		};
	};
};
```

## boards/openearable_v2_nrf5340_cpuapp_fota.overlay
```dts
/ {
	chosen {
		nordic,pm-ext-flash = &mx25r64;
	};
};

/delete-node/ &boot_partition;
/delete-node/ &slot0_partition;
/delete-node/ &slot1_partition;
/delete-node/ &storage_partition;

&flash0 {
	partitions {
		boot_partition: partition@0 {
			compatible = "zephyr,mapped-partition";
			label = "mcuboot";
			reg = <0x00000000 0x00010000>;
		};

		slot0_partition: partition@10000 {
			compatible = "zephyr,mapped-partition";
			label = "image-0";
			reg = <0x00010000 0x000e0000>;
		};

		storage_partition: partition@f0000 {
			compatible = "zephyr,mapped-partition";
			label = "storage";
			reg = <0x000f0000 0x00010000>;
		};
	};
};

&qspi {
	status = "disabled";
};

&spi4 {
	cs-gpios = <&gpio0 11 GPIO_ACTIVE_LOW>,<&gpio1 1 GPIO_ACTIVE_LOW>;
	status = "okay";
	mx25r64: mx25r6435f@1 {
		compatible = "jedec,spi-nor";
		reg = <1>;
		spi-max-frequency = <32000000>;

		jedec-id = [c2 28 17];
		sfdp-bfp = [
			e5 20 f1 ff  ff ff ff 03  44 eb 08 6b  08 3b 04 bb
			ee ff ff ff  ff ff 00 ff  ff ff 00 ff  0c 20 0f 52
			10 d8 00 ff  23 72 f5 00  82 ed 04 cc  44 83 68 44
			30 b0 30 b0  f7 c4 d5 5c  00 be 29 ff  f0 d0 ff ff
		];
		size = <67108864>;
		has-dpd;
		t-enter-dpd = <10000>;
		t-exit-dpd = <5000>;
		dpd-wakeup-sequence = <30000 20 45000>;
		mxicy,mx25r-power-mode = "high-performance";

		partitions {
			compatible = "fixed-partitions";
			#address-cells = <1>;
			#size-cells = <1>;

			slot1_partition: partition@0 {
				label = "image-1";
				reg = <0x00000000 0x000e0000>;
			};

			slot3_partition: partition@e0000 {
				label = "image-3";
				reg = <0x000e0000 0x00040000>;
			};
		};
	};
};

/* STEP 5.1 - Configure CDC ACM */
&zephyr_udc0 {
	cdc_acm_uart0: cdc_acm_uart0 {
		compatible = "zephyr,cdc-acm-uart";
	};
};

/* STEP 5.2 - Choose CDC ACM for mcumgr */
/ {
	chosen {
		zephyr,uart-mcumgr = &cdc_acm_uart0;
	};
};
```

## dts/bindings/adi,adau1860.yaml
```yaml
#
# Copyright 2021 Grinn
#
# SPDX-License-Identifier: Apache-2.0
#

include: [sensor-device.yaml, i2c-device.yaml]

compatible: "adi,adau1860"

properties:
  enable-gpios:
    type: phandle-array
    description: DSP enable
```

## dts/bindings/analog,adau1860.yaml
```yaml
#
# Copyright 2021 Grinn
#
# SPDX-License-Identifier: Apache-2.0
#

include: [sensor-device.yaml, i2c-device.yaml]

compatible: "analog,adau1860"

properties:
  enable-gpios:
    type: phandle-array
    description: DSP enable
```

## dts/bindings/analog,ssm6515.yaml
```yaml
#
# Copyright 2021 Grinn
#
# SPDX-License-Identifier: Apache-2.0
#

include: [sensor-device.yaml, i2c-device.yaml]

compatible: "analog,ssm6515"
```

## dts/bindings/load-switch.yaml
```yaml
# Copyright (c) 2023 Libre Solar Technologies GmbH
# SPDX-License-Identifier: Apache-2.0

include: [base.yaml, pm.yaml]

description: GPIO pin to switch a power output on or off

compatible: "load-switch"

properties:
  enable-gpios:
    type: phandle-array
    required: true
    description: |
      The GPIO connected to the gate driver for the MOSFET.
  default-on:
    type: boolean
    description: |
      If present, the load switch will be enabled by default at boot.
  power-delay-us:
    type: int
    default: 1000
    description: |
      Delay in microseconds before enabling the load switch.
```

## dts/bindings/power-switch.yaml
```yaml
# Copyright (c) 2023 Libre Solar Technologies GmbH
# SPDX-License-Identifier: Apache-2.0

description: GPIO pin to switch a power output on or off

compatible: "power-switch"

properties:
  gpios:
    type: phandle-array
    required: true
    description: |
      The GPIO connected to the switch.
```

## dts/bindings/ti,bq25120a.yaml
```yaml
#
# Copyright 2021 Grinn
#
# SPDX-License-Identifier: Apache-2.0
#

include: [sensor-device.yaml, i2c-device.yaml]

compatible: "ti,bq25120a"

properties:
  pg-gpios:
    type: phandle-array
    description: Power Good pin
  int-gpios:
    type: phandle-array
    description: Alert pin
  cd-gpios:
    type: phandle-array
    description: Chip disable pin

#child-binding:
#  description: Control load switch
#  include: load-switch.yaml
```

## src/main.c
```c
/*
 * Copyright (c) 2018 Nordic Semiconductor ASA
 *
 * SPDX-License-Identifier: LicenseRef-Nordic-5-Clause
 */

#include <zephyr/kernel.h>
#include <zephyr/device.h>
#include <zephyr/devicetree.h>
#include <zephyr/drivers/sensor.h>
#include <zephyr/drivers/i2c.h>

#define I2C_DEV_LABEL "I2C_1" // Change this to your I2C device label
#define START_ADDRESS 0x40    // Start address for scanning (0x03 is the first valid address)
#define END_ADDRESS   0x45    // End address for scanning (0x77 is the last valid address)

void i2c_scan(const struct device *i2c_dev) {
    printk("Scanning I2C bus...\n");

    for (uint8_t i = START_ADDRESS; i <= END_ADDRESS; i++) {
        struct i2c_msg msgs[1];
        uint8_t dst;

        msgs[0].buf = &dst;
        msgs[0].len = 0U; // Zero-length read
        msgs[0].flags = I2C_MSG_READ | I2C_MSG_STOP;

        if (i2c_transfer(i2c_dev, &msgs[0], 1, i) == 0) {
            printk("I2C device detected at address 0x%02X\n", i);
        }
    }

    printk("I2C scan complete\n");
}

int main(void) {
    const struct device *i2c_dev;

    i2c_dev = device_get_binding(I2C_DEV_LABEL);
    if (!i2c_dev) {
        printk("I2C: Device driver not found.\n");
        return;
    }

    i2c_scan(i2c_dev);
}
```

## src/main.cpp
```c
#include <zephyr/kernel.h>
#include <zephyr/device.h>
#include <zephyr/devicetree.h>
#include <zephyr/shell/shell.h>
#include <zephyr/shell/shell_uart.h>
#include <zephyr/settings/settings.h>
#include <zephyr/storage/disk_access.h>
#include <zephyr/logging/log.h>

#if defined(CONFIG_USB_DEVICE_STACK_NEXT)
#include <zephyr/usb/usbd.h>
#include <zephyr/usb/class/usbd_msc.h>
extern "C" {
#include <sample_usbd.h>
}
#else
#include <zephyr/usb/usb_device.h>
#endif

#include "macros_common.h"
#include "openearable_common.h"
#include "streamctrl.h"
#include "uicr.h"
#include "bt_mgmt.h"
#include "bt_mgmt_conn_interval.h"
#include "conn_interval/conn_intvl_linear.h"
#include "time_sync.h"

#include "device_info.h"
#include "battery_service.h"
#include "button_service.h"
#include "sensor_service.h"
#include "led_service.h"

#include "SensorScheme.h"
#include "DefaultSensors.h"

#include "Battery/PowerManager.h"
#include "SensorManager/SensorManager.h"
#include "SD_Card/SD_Card_Manager/SD_Card_Manager.h"
#include "utils/StateIndicator.h"

LOG_MODULE_REGISTER(main, CONFIG_MAIN_LOG_LEVEL);

#if defined(CONFIG_USB_DEVICE_STACK_NEXT)
/* Register SD card as a USB Mass Storage LUN */
USBD_DEFINE_MSC_LUN(sd, "SD", "OpenEarable", "SD Card", "1.00");

/* Global USB device context, used by SDCardManager to disable/enable USB
 * when the firmware needs exclusive SD card access for logging. */
struct usbd_context *g_usbd;
#endif

int main(void) {
	int ret;

	LOG_DBG("nRF5340 APP core started");

	ret = power_manager.begin();
	ERR_CHK(ret);

	uint8_t standalone = uicr_standalone_get();
	LOG_INF("Standalone mode: %i", standalone);

#if defined(CONFIG_USB_DEVICE_STACK_NEXT)
	{
		/* Bring SD rails up (if a card is present) before disk probe and USB
		 * enable so MSC sees the card on first host poll. */
		sdcard_manager.init();
		ret = disk_access_init("SD");
		LOG_INF("disk_access_init(SD)=%d", ret);

		g_usbd = sample_usbd_init_device(NULL);
		if (g_usbd == NULL) {
			LOG_ERR("Failed to initialize USB device");
		} else {
			ret = usbd_enable(g_usbd);
			if (ret) {
				LOG_ERR("Failed to enable USB: %d", ret);
			}
		}
	}
#elif defined(CONFIG_USB_DEVICE_STACK)
	ret = usb_enable(NULL);
	if (ret) {
		LOG_ERR("Failed to enable USB");
		return 0;
	}
#endif

	streamctrl_start();

	uint32_t sirk = uicr_sirk_get();

	if (sirk == 0xFFFFFFFFU) {
		state_indicator.set_pairing_state(SET_PAIRING);
	} else if (bonded_device_count > 0 && !oe_boot_state.timer_reset) {
		state_indicator.set_pairing_state(PAIRED);
	} else {
		state_indicator.set_pairing_state(BONDING);
	}

	init_sensor_manager();

	ret = init_led_service();
	ERR_CHK(ret);

	ret = init_battery_service();
	ERR_CHK(ret);

	ret = init_button_service();
	ERR_CHK(ret);

	ret = initParseInfoService(&defaultSensorIds, defaultSensors);
	ERR_CHK(ret);

	ret = init_sensor_service();
	ERR_CHK(ret);

	bt_mgmt_conn_interval_init(new ConnIntvlLinear(
	    4,                // linear increase step (8ms units)
	    CONFIG_BLE_ACL_CONN_INTERVAL,
	    CONFIG_BLE_ACL_CONN_INTERVAL_SLOW
	));

	ret = init_time_sync();
	ERR_CHK(ret);

	return 0;
}
```

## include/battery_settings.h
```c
/* SPDX-License-Identifier: Apache-2.0 */
#ifndef OPENEARABLE_BATTERY_SETTINGS_H
#define OPENEARABLE_BATTERY_SETTINGS_H

/** Charger/gauge settings in volts, milliamps, mAh and degrees Celsius. */
struct battery_settings {
    float u_nominal;
    float u_term;
    float u_vlo;
    float u_charge_prevent;
    float i_term;
    float i_charge;
    /** Charger USB input limit, not a battery discharge current limiter. */
    float i_max;
    float capacity;
    float temp_min;
    float temp_fast_min;
    float temp_fast_max;
    float temp_max;
    /** Fuel-gauge EDV overload threshold; does not disconnect the battery. */
    float i_gauge_overload;
};

#endif
```

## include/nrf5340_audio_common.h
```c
/*
 * Copyright (c) 2023 Nordic Semiconductor ASA
 *
 * SPDX-License-Identifier: LicenseRef-Nordic-5-Clause
 */

#ifndef _NRF5340_AUDIO_COMMON_H_
#define _NRF5340_AUDIO_COMMON_H_

#include <zephyr/bluetooth/audio/audio.h>
#include <zephyr/drivers/gpio.h>

#include <zephyr/pm/device.h>
#include <zephyr/pm/device_runtime.h>

#include "LoadSwitch.h"

#define ZBUS_READ_TIMEOUT_MS	K_MSEC(100)
#define ZBUS_ADD_OBS_TIMEOUT_MS K_MSEC(200)

#define SENSOR_DATA_FIXED_LENGTH 9

#define millis() k_cyc_to_ms_floor32(k_cycle_get_32())
#define micros() k_cyc_to_us_floor64(k_cycle_get_32())

#define load_switch_sd_id DT_NODELABEL(load_switch_sd)
#define load_switch_1_8_id DT_NODELABEL(load_switch)
#define load_switch_3_3_id DT_NODELABEL(bq25120a)

extern const struct device *const cons;
extern const struct device *const ls_1_8;
extern const struct device *const ls_3_3;
extern const struct device *const ls_sd;

struct boot_state {
	bool timer_reset;
	uint64_t device_id;
};

enum pairing_state {
	SET_PAIRING, //BINDING,
	BONDING,
	PAIRED, //DISONNECTED
	CONNECTED,
};

enum charging_state {
	DISCHARGING,
	CHARGING,
	FULLY_CHARGED,
	FAULT,
};

enum led_state {
	STATE_INDICATION,
	CUSTOM,
};

struct earable_state {
	enum pairing_state pairing_state;
	enum charging_state charging_state;
	enum led_state led_state;
};	 

enum sensor_id {
	ID_IMU=0,
	ID_TEMP_BARO=1,
	ID_PPG=4,
	ID_PULSOX=5,
	ID_OPTTEMP=6,
	ID_BONE_CONDUCTION=7,
};

struct battery_data {
    uint8_t battery_level;
    uint16_t charging_state;
};

struct sensor_data {
    uint8_t id;
    uint8_t size;
    uint32_t time;
    float data[SENSOR_DATA_FIXED_LENGTH];
    //uint8_t * data;
} __attribute__((packed));

struct sensor_config {
    uint8_t sensorId;
    float sampleRate;
    uint32_t latency;
} __attribute__((packed));

/***** Messages for zbus ******/

enum button_action {
	BUTTON_RELEASED = 0,
	BUTTON_PRESS = 1,
};

struct button_msg {
	uint32_t button_pin;
	enum button_action button_action;
};

enum le_audio_evt_type {
	LE_AUDIO_EVT_CONFIG_RECEIVED = 1,
	LE_AUDIO_EVT_PRES_DELAY_SET,
	LE_AUDIO_EVT_STREAMING,
	LE_AUDIO_EVT_NOT_STREAMING,
	LE_AUDIO_EVT_SYNC_LOST,
	LE_AUDIO_EVT_NO_VALID_CFG,
};

struct le_audio_msg {
	enum le_audio_evt_type event;
	struct bt_conn *conn;
	struct bt_le_per_adv_sync *pa_sync;
	enum bt_audio_dir dir;
};

/**
 * tx_sync_ts_us	The timestamp from get_tx_sync.
 * curr_ts_us		The current time. This must be in the controller frame of reference.
 */
struct sdu_ref_msg {
	uint32_t tx_sync_ts_us;
	uint32_t curr_ts_us;
	bool adjust;
};

enum bt_mgmt_evt_type {
	BT_MGMT_EXT_ADV_WITH_PA_READY = 1,
	BT_MGMT_CONNECTED,
	BT_MGMT_SECURITY_CHANGED,
	BT_MGMT_PA_SYNCED,
	BT_MGMT_PA_SYNC_LOST,
	BT_MGMT_DISCONNECTED,
};

struct bt_mgmt_msg {
	enum bt_mgmt_evt_type event;
	struct bt_conn *conn;
	struct bt_le_ext_adv *ext_adv;
	struct bt_le_per_adv_sync *pa_sync;
	uint32_t broadcast_id;
	uint8_t pa_sync_term_reason;
};

enum volume_evt_type {
	VOLUME_UP = 1,
	VOLUME_DOWN,
	VOLUME_SET,
	VOLUME_MUTE,
	VOLUME_UNMUTE,
};

struct volume_msg {
	enum volume_evt_type event;
	uint8_t volume;
};

enum content_control_evt_type {
	MEDIA_START = 1,
	MEDIA_STOP,
};

struct content_control_msg {
	enum content_control_evt_type event;
};

/**
 * @brief	Initialize the software modules that are common for all the audio samples.
 *
 * @return	0 if successful, error otherwise.
 */
int nrf5340_audio_common_init(void);

#endif /* _NRF5340_AUDIO_COMMON_H_ */
```

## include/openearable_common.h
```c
#ifndef _OPEN_EARABLE_COMMON_H_
#define _OPEN_EARABLE_COMMON_H_

//#include <zephyr/bluetooth/audio/audio.h>
#include <zephyr/drivers/gpio.h>
#include "battery_settings.h"

#include <zephyr/pm/device.h>
#include <zephyr/pm/device_runtime.h>

#define ZBUS_READ_TIMEOUT_MS	K_MSEC(100)
#define ZBUS_ADD_OBS_TIMEOUT_MS K_MSEC(200)

#define SENSOR_DATA_FIXED_LENGTH 98


#define millis() k_cyc_to_ms_floor64(k_uptime_ticks())

#ifdef __cplusplus
extern "C" {
#endif
uint64_t oe_micros();
#ifdef __cplusplus
}
#endif
#ifndef micros
#define micros() oe_micros()
#endif

#define load_switch_sd_id DT_NODELABEL(load_switch_sd)
#define load_switch_1_8_id DT_NODELABEL(load_switch)
#define load_switch_3_3_id DT_NODELABEL(bq25120a)

extern const struct device *const cons;
extern const struct device *const ls_1_8;
extern const struct device *const ls_3_3;
extern const struct device *const ls_sd;

typedef uint8_t RGBColor[3];

struct boot_state {
	bool timer_reset;
	uint64_t device_id;
};

enum pairing_state {
	SET_PAIRING,
	BONDING,
	PAIRED, //DISONNECTED
	CONNECTED,
};

enum charging_state {
	DISCHARGING,
	BATTERY_CRITICAL,
	BATTERY_LOW,
	POWER_CONNECTED,
	PRECHARGING,
	SLOW_CHARGING,
	CHARGING, // Constant current
	TRICKLE_CHARGING, //Constant voltage
	FULLY_CHARGED,
	FAULT,
};

enum led_mode {
	STATE_INDICATION,
	CUSTOM,
};

enum sd_state {
    SD_IDLE,
    SD_RECORDING,
	SD_FAULT,
};

struct earable_state {
	enum pairing_state pairing_state;
	enum charging_state charging_state;
	enum sd_state sd_state;
	enum led_mode led_mode;
};

enum sensor_id {
	ID_IMU=0,
	ID_TEMP_BARO=1,
	ID_MICRO=2,
	ID_PPG=4,
	ID_PULSOX=5,
	ID_OPTTEMP=6,
	ID_BONE_CONDUCTION=7,
};

struct battery_data {
    uint8_t battery_level;
	enum charging_state charging_state;
    //uint16_t charging_state;
};

struct sensor_data {
    uint8_t id;
    uint8_t size;
    uint64_t time;
    uint8_t data[SENSOR_DATA_FIXED_LENGTH];
} __attribute__((packed));

struct sensor_msg {
	bool sd;
	bool stream;
	struct sensor_data data;
};

struct sensor_config {
    uint8_t sensorId;
    uint8_t sampleRateIndex;
	uint8_t storageOptions;
} __attribute__((packed));

struct sd_msg {
	bool removed;
};

#include "audio_i2s.h"

struct audio_rx_data {
    char data[FRAME_SIZE_BYTES];
    size_t size;
};

#endif
```

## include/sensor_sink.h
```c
#ifndef SENSOR_SINK_H
#define SENSOR_SINK_H

#include "openearable_common.h"
#include <stddef.h>

#ifdef __cplusplus
extern "C" {
#endif

int sensor_sink_put(const struct sensor_msg *msg);

int sensor_sink_write_sd(const void *const *data_blocks, const size_t *lengths,
                         size_t block_count);

#ifdef __cplusplus
}
#endif

#endif
```

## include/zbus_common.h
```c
/*
 * Copyright (c) 2023 Nordic Semiconductor ASA
 *
 * SPDX-License-Identifier: LicenseRef-Nordic-5-Clause
 */

#ifndef _ZBUS_COMMON_H_
#define _ZBUS_COMMON_H_

#include <zephyr/bluetooth/audio/audio.h>

#include "le_audio.h"

#define ZBUS_READ_TIMEOUT_MS	K_MSEC(100)
#define ZBUS_ADD_OBS_TIMEOUT_MS K_MSEC(200)
#define ZBUS_STREAMS_NUM_MAX	8

/***** Messages for zbus ******/

enum button_action {
	BUTTON_RELEASED = 0,
	BUTTON_PRESS = 1,
};

struct button_msg {
	uint32_t button_pin;
	enum button_action button_action;
};

enum le_audio_evt_type {
	LE_AUDIO_EVT_CONFIG_RECEIVED = 1,
	LE_AUDIO_EVT_PRES_DELAY_SET,
	LE_AUDIO_EVT_STREAMING,
	LE_AUDIO_EVT_NOT_STREAMING,
	LE_AUDIO_EVT_STREAM_SENT,
	/* A stream is being enabled and will start within about 100 ms */
	LE_AUDIO_EVT_ENABLING,
	LE_AUDIO_EVT_SYNC_LOST,
	LE_AUDIO_EVT_NO_VALID_CFG,
	LE_AUDIO_EVT_COORD_SET_DISCOVERED,
	LE_AUDIO_EVT_DISCOVERY_COMPLETE,
};

struct le_audio_msg {
	enum le_audio_evt_type event;
	struct bt_conn *conn;
	struct bt_le_per_adv_sync *pa_sync;
	enum bt_audio_dir dir;
	uint8_t set_size;
	uint8_t const *sirk;
	struct stream_index idx;
	struct bt_bap_stream *stream;
};

enum tx_data_status {
	STATUS_NOT_SET = 0,		  /* Initial status */
	STATUS_SENT_WITH_TS,		  /* Data sent with timestamp */
	STATUS_SENT_WITHOUT_TS,		  /* Data sent without timestamp */
	STATUS_OVERRUN_FLUSHED,		  /* Data overrun, flushed */
	STATUS_UNDERRUN_EMPTY_SDU_ON_AIR, /* Data underrun, empty SDU on air */
	STATUS_ERROR,			  /* Error occurred (e.g. failed to send) */
};

/**
 * tx_sync_ts_us	The timestamp from get_tx_sync.
 * curr_ts_us		The current time. This must be in the controller frame of reference.
 */
struct sdu_ref_msg {
	uint32_t tx_sync_ts_us;
	bool tx_sync_ts_us_valid;
	uint32_t curr_ts_us;
	enum tx_data_status status;
	bool adjust;
	struct stream_index idx[ZBUS_STREAMS_NUM_MAX];
	uint8_t num_idx;
};

enum bt_mgmt_evt_type {
	BT_MGMT_EXT_ADV_WITH_PA_READY = 1,
	BT_MGMT_CONNECTED,
	BT_MGMT_SECURITY_CHANGED,
	BT_MGMT_PAIRING_COMPLETE,
	BT_MGMT_BOND_DELETED,
	BT_MGMT_PA_SYNCED,
	BT_MGMT_PA_SYNC_LOST,
	BT_MGMT_DISCONNECTED,
	BT_MGMT_BROADCAST_SINK_DISABLE,
	BT_MGMT_BROADCAST_CODE_RECEIVED,
};

struct bt_mgmt_msg {
	enum bt_mgmt_evt_type event;
	struct bt_conn *conn;
	uint8_t index;
	struct bt_le_ext_adv *ext_adv;
	struct bt_le_per_adv_sync *pa_sync;
	uint32_t broadcast_id;
	uint8_t pa_sync_term_reason;
	bt_addr_le_t addr;
	bt_addr_le_t identity;
};

enum volume_evt_type {
	VOLUME_UP = 1,
	VOLUME_DOWN,
	VOLUME_SET,
	VOLUME_MUTE,
	VOLUME_UNMUTE,
};

struct volume_msg {
	enum volume_evt_type event;
	uint8_t volume;
};

enum content_control_evt_type {
	MEDIA_START = 1,
	MEDIA_STOP,
};

struct content_control_msg {
	enum content_control_evt_type event;
};

#endif /* _ZBUS_COMMON_H_ */
```

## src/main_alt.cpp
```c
/*
 * Copyright (c) 2018 Nordic Semiconductor ASA
 *
 * SPDX-License-Identifier: LicenseRef-Nordic-5-Clause
 */

#include <zephyr/types.h>
#include <stddef.h>
#include <string.h>
#include <errno.h>
#include <zephyr/sys/printk.h>
#include <zephyr/sys/byteorder.h>
#include <zephyr/kernel.h>
#include <zephyr/drivers/gpio.h>
#include <soc.h>

#include <zephyr/bluetooth/bluetooth.h>
#include <zephyr/bluetooth/hci.h>
#include <zephyr/bluetooth/conn.h>
#include <zephyr/bluetooth/uuid.h>
#include <zephyr/bluetooth/gatt.h>

#include <bluetooth/services/lbs.h>

#include <zephyr/settings/settings.h>

#include <dk_buttons_and_leds.h>

#define DEVICE_NAME             CONFIG_BT_DEVICE_NAME
#define DEVICE_NAME_LEN         (sizeof(DEVICE_NAME) - 1)


#define RUN_STATUS_LED          DK_LED1
#define CON_STATUS_LED          DK_LED2
#define RUN_LED_BLINK_INTERVAL  1000

#define USER_LED                DK_LED3

#define USER_BUTTON             DK_BTN1_MSK

static bool app_button_state;

static const struct bt_data ad[] = {
	BT_DATA_BYTES(BT_DATA_FLAGS, (BT_LE_AD_GENERAL | BT_LE_AD_NO_BREDR)),
	BT_DATA(BT_DATA_NAME_COMPLETE, DEVICE_NAME, DEVICE_NAME_LEN),
};

static const struct bt_data sd[] = {
	BT_DATA_BYTES(BT_DATA_UUID128_ALL, BT_UUID_LBS_VAL),
};

static void connected(struct bt_conn *conn, uint8_t err)
{
	if (err) {
		printk("Connection failed (err %u)\n", err);
		return;
	}

	printk("Connected\n");

	dk_set_led_on(CON_STATUS_LED);
}

static void disconnected(struct bt_conn *conn, uint8_t reason)
{
	printk("Disconnected (reason %u)\n", reason);

	dk_set_led_off(CON_STATUS_LED);
}

#ifdef CONFIG_BT_LBS_SECURITY_ENABLED
static void security_changed(struct bt_conn *conn, bt_security_t level,
			     enum bt_security_err err)
{
	char addr[BT_ADDR_LE_STR_LEN];

	bt_addr_le_to_str(bt_conn_get_dst(conn), addr, sizeof(addr));

	if (!err) {
		printk("Security changed: %s level %u\n", addr, level);
	} else {
		printk("Security failed: %s level %u err %d\n", addr, level,
			err);
	}
}
#endif

BT_CONN_CB_DEFINE(conn_callbacks) = {
	.connected        = connected,
	.disconnected     = disconnected,
#ifdef CONFIG_BT_LBS_SECURITY_ENABLED
	.security_changed = security_changed,
#endif
};

#if defined(CONFIG_BT_LBS_SECURITY_ENABLED)
static void auth_passkey_display(struct bt_conn *conn, unsigned int passkey)
{
	char addr[BT_ADDR_LE_STR_LEN];

	bt_addr_le_to_str(bt_conn_get_dst(conn), addr, sizeof(addr));

	printk("Passkey for %s: %06u\n", addr, passkey);
}

static void auth_cancel(struct bt_conn *conn)
{
	char addr[BT_ADDR_LE_STR_LEN];

	bt_addr_le_to_str(bt_conn_get_dst(conn), addr, sizeof(addr));

	printk("Pairing cancelled: %s\n", addr);
}

static void pairing_complete(struct bt_conn *conn, bool bonded)
{
	char addr[BT_ADDR_LE_STR_LEN];

	bt_addr_le_to_str(bt_conn_get_dst(conn), addr, sizeof(addr));

	printk("Pairing completed: %s, bonded: %d\n", addr, bonded);
}

static void pairing_failed(struct bt_conn *conn, enum bt_security_err reason)
{
	char addr[BT_ADDR_LE_STR_LEN];

	bt_addr_le_to_str(bt_conn_get_dst(conn), addr, sizeof(addr));

	printk("Pairing failed conn: %s, reason %d\n", addr, reason);
}

static struct bt_conn_auth_cb conn_auth_callbacks = {
	.passkey_display = auth_passkey_display,
	.cancel = auth_cancel,
};

static struct bt_conn_auth_info_cb conn_auth_info_callbacks = {
	.pairing_complete = pairing_complete,
	.pairing_failed = pairing_failed
};
#else
static struct bt_conn_auth_cb conn_auth_callbacks;
static struct bt_conn_auth_info_cb conn_auth_info_callbacks;
#endif

static void app_led_cb(bool led_state)
{
	dk_set_led(USER_LED, led_state);
}

static bool app_button_cb(void)
{
	return app_button_state;
}

static struct bt_lbs_cb lbs_callbacs = {
	.led_cb    = app_led_cb,
	.button_cb = app_button_cb,
};

static void button_changed(uint32_t button_state, uint32_t has_changed)
{
	if (has_changed & USER_BUTTON) {
		uint32_t user_button_state = button_state & USER_BUTTON;

		bt_lbs_send_button_state(user_button_state);
		app_button_state = user_button_state ? true : false;
	}
}

static int init_button(void)
{
	int err;

	err = dk_buttons_init(button_changed);
	if (err) {
		printk("Cannot init buttons (err: %d)\n", err);
	}

	return err;
}

int main(void)
{
	int blink_status = 0;
	int err;

	printk("Starting Bluetooth Peripheral LBS example\n");

	err = dk_leds_init();
	if (err) {
		printk("LEDs init failed (err %d)\n", err);
		return 0;
	}

	err = init_button();
	if (err) {
		printk("Button init failed (err %d)\n", err);
		return 0;
	}

	if (IS_ENABLED(CONFIG_BT_LBS_SECURITY_ENABLED)) {
		err = bt_conn_auth_cb_register(&conn_auth_callbacks);
		if (err) {
			printk("Failed to register authorization callbacks.\n");
			return 0;
		}

		err = bt_conn_auth_info_cb_register(&conn_auth_info_callbacks);
		if (err) {
			printk("Failed to register authorization info callbacks.\n");
			return 0;
		}
	}

	err = bt_enable(NULL);
	if (err) {
		printk("Bluetooth init failed (err %d)\n", err);
		return 0;
	}

	printk("Bluetooth initialized\n");

	if (IS_ENABLED(CONFIG_SETTINGS)) {
		settings_load();
	}

	err = bt_lbs_init(&lbs_callbacs);
	if (err) {
		printk("Failed to init LBS (err:%d)\n", err);
		return 0;
	}

	const bt_le_adv_param adv_param = BT_LE_ADV_PARAM_INIT(BT_LE_ADV_OPT_CONNECTABLE, BT_GAP_ADV_FAST_INT_MIN_2, BT_GAP_ADV_FAST_INT_MAX_2, NULL);

	err = bt_le_adv_start(&adv_param, ad, ARRAY_SIZE(ad),
			      sd, ARRAY_SIZE(sd));
	if (err) {
		printk("Advertising failed to start (err %d)\n", err);
		return 0;
	}

	printk("Advertising successfully started\n");

	for (;;) {
		dk_set_led(RUN_STATUS_LED, (++blink_status) % 2);
		k_sleep(K_MSEC(RUN_LED_BLINK_INTERVAL));
	}
}
```

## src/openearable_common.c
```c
/*
 * Copyright (c) 2023 Nordic Semiconductor ASA
 *
 * SPDX-License-Identifier: LicenseRef-Nordic-5-Clause
 */

#include "openearable_common.h"

const struct device *const cons = DEVICE_DT_GET(DT_CHOSEN(zephyr_console));
const struct device *const ls_1_8 = DEVICE_DT_GET(load_switch_1_8_id);
const struct device *const ls_3_3 = DEVICE_DT_GET(load_switch_3_3_id);
const struct device *const ls_sd = DEVICE_DT_GET(load_switch_sd_id);
```
